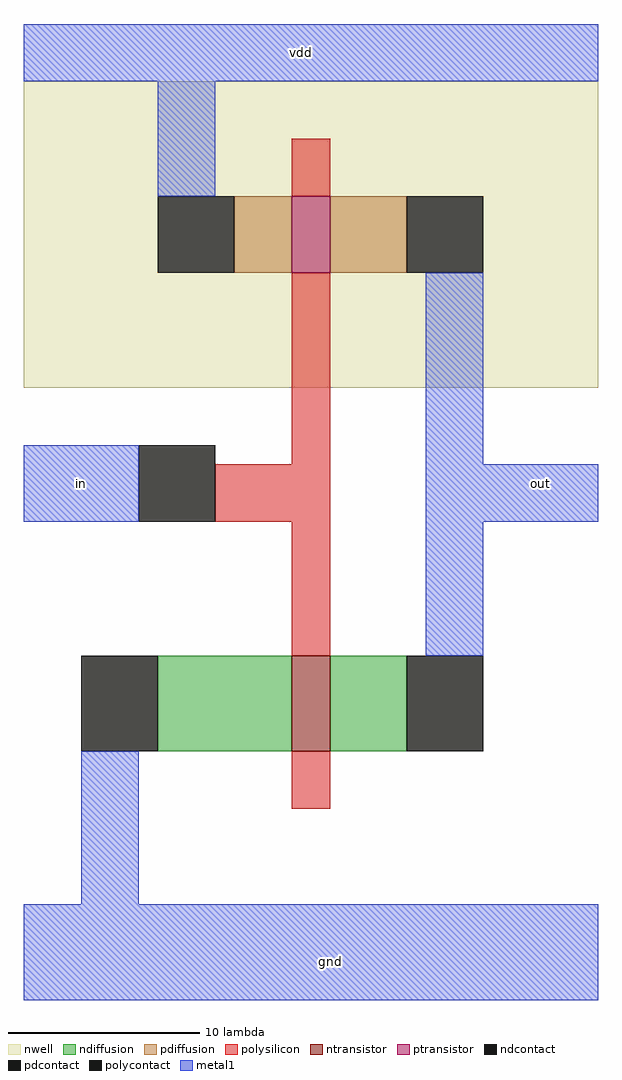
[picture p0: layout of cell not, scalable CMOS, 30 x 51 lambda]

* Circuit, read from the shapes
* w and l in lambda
.subckt not gnd in out vdd
M1 out in gnd VSUBS nfet w=5 l=2
M2 out in vdd n1 pfet w=4 l=2
.ends

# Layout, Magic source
magic
tech scmos
<< nwell >>
rect -12 3 18 19
<< ntransistor >>
rect 2 -16 4 -11
<< ptransistor >>
rect 2 9 4 13
<< ndiffusion >>
rect -5 -16 2 -11
rect 4 -16 8 -11
<< pdiffusion >>
rect -1 9 2 13
rect 4 9 8 13
<< ndcontact >>
rect -9 -16 -5 -11
rect 8 -16 12 -11
<< pdcontact >>
rect -5 9 -1 13
rect 8 9 12 13
<< polysilicon >>
rect 2 13 4 16
rect 2 -1 4 9
rect -2 -4 4 -1
rect 2 -11 4 -4
rect 2 -19 4 -16
<< polycontact >>
rect -6 -4 -2 0
<< metal1 >>
rect -12 19 18 22
rect -5 13 -2 19
rect -12 -4 -6 0
rect 9 -1 12 9
rect 9 -4 18 -1
rect 9 -11 12 -4
rect -9 -24 -6 -16
rect -12 -29 18 -24
<< labels >>
rlabel metal1 0 20 5 21 5 vdd
rlabel metal1 14 -3 16 -1 7 out
rlabel metal1 -10 -3 -8 -1 3 in
rlabel metal1 3 -28 5 -26 1 gnd
<< end >>
